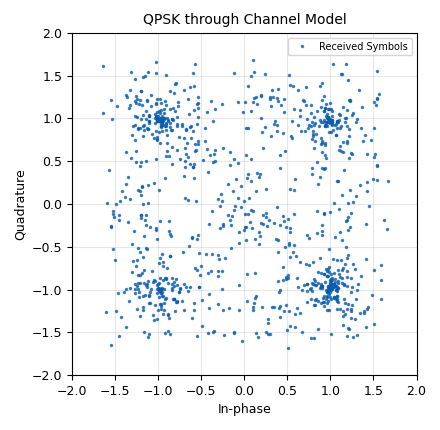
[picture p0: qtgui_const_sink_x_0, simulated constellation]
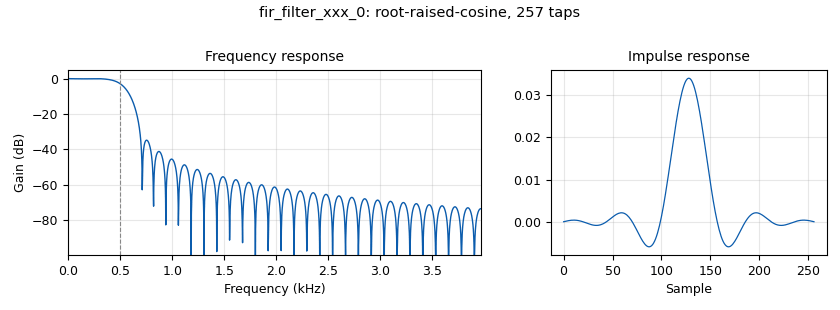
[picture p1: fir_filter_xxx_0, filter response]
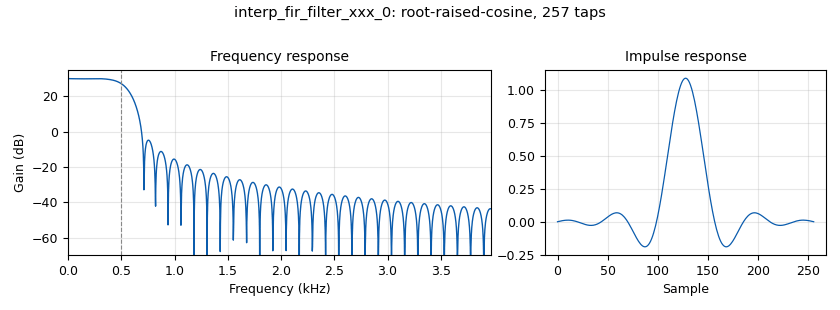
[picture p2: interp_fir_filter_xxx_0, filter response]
options:
  parameters:
    author: Dhrubjun
    generate_options: qt_gui
    id: exp6
    output_language: python
    title: Channel Model
  states: {}

blocks:
- name: alpha
  id: variable
  parameters:
    value: '0.35'
  states: {}
- name: freq_offset_hz
  id: variable_qtgui_range
  parameters:
    label: Frequency Offset (Hz)
    start: '0'
    step: '5'
    stop: '100'
    value: '0'
  states: {}
- name: ntaps
  id: variable
  parameters:
    value: span * sps + 1
  states: {}
- name: samp_rate
  id: variable
  parameters:
    value: '32000'
  states: {}
- name: span
  id: variable
  parameters:
    value: '8'
  states: {}
- name: sps
  id: variable
  parameters:
    value: int(samp_rate / symbol_rate)
  states: {}
- name: symbol_rate
  id: variable
  parameters:
    value: '1000'
  states: {}
- name: analog_random_source_x_0
  id: analog_random_source_x
  parameters:
    max: '2'
    min: '0'
    num_samps: '1000'
    repeat: 'True'
    type: byte
  states: {}
- name: analog_random_source_x_0_0
  id: analog_random_source_x
  parameters:
    max: '2'
    min: '0'
    num_samps: '1000'
    repeat: 'True'
    type: byte
  states: {}
- name: blocks_float_to_complex_0
  id: blocks_float_to_complex
  parameters: {}
  states: {}
- name: blocks_keep_one_in_n_0
  id: blocks_keep_one_in_n
  parameters:
    n: sps
    type: complex
  states: {}
- name: blocks_throttle2_0
  id: blocks_throttle2
  parameters:
    samples_per_second: samp_rate
    type: complex
  states: {}
- name: channels_channel_model_0
  id: channels_channel_model
  parameters:
    epsilon: '1.001'
    freq_offset: '0'
    noise_voltage: '0'
    seed: '0'
    taps: '[1]'
  states: {}
- name: digital_chunks_to_symbols_xx_0
  id: digital_chunks_to_symbols_xx
  parameters:
    dimension: '1'
    in_type: byte
    out_type: float
    symbol_table: '[-1,1]'
  states: {}
- name: digital_chunks_to_symbols_xx_0_0
  id: digital_chunks_to_symbols_xx
  parameters:
    dimension: '1'
    in_type: byte
    out_type: float
    symbol_table: '[-1,1]'
  states: {}
- name: fir_filter_xxx_0
  id: fir_filter_xxx
  parameters:
    decim: '1'
    taps: firdes.root_raised_cosine(1, samp_rate, symbol_rate, alpha, ntaps)
    type: ccf
  states: {}
- name: interp_fir_filter_xxx_0
  id: interp_fir_filter_xxx
  parameters:
    interp: sps
    taps: firdes.root_raised_cosine(sps, samp_rate, symbol_rate, alpha, ntaps)
    type: ccf
  states: {}
- name: qtgui_const_sink_x_0
  id: qtgui_const_sink_x
  parameters:
    grid: 'True'
    label1: Received Symbols
    name: QPSK through Channel Model
    size: '1024'
    type: complex
  states: {}

connections:
- [analog_random_source_x_0, '0', digital_chunks_to_symbols_xx_0, '0']
- [analog_random_source_x_0_0, '0', digital_chunks_to_symbols_xx_0_0, '0']
- [blocks_float_to_complex_0, '0', interp_fir_filter_xxx_0, '0']
- [blocks_keep_one_in_n_0, '0', qtgui_const_sink_x_0, '0']
- [blocks_throttle2_0, '0', channels_channel_model_0, '0']
- [channels_channel_model_0, '0', fir_filter_xxx_0, '0']
- [digital_chunks_to_symbols_xx_0, '0', blocks_float_to_complex_0, '0']
- [digital_chunks_to_symbols_xx_0_0, '0', blocks_float_to_complex_0, '1']
- [fir_filter_xxx_0, '0', blocks_keep_one_in_n_0, '0']
- [interp_fir_filter_xxx_0, '0', blocks_throttle2_0, '0']

metadata:
  file_format: 1
  grc_version: 3.10.12.0
